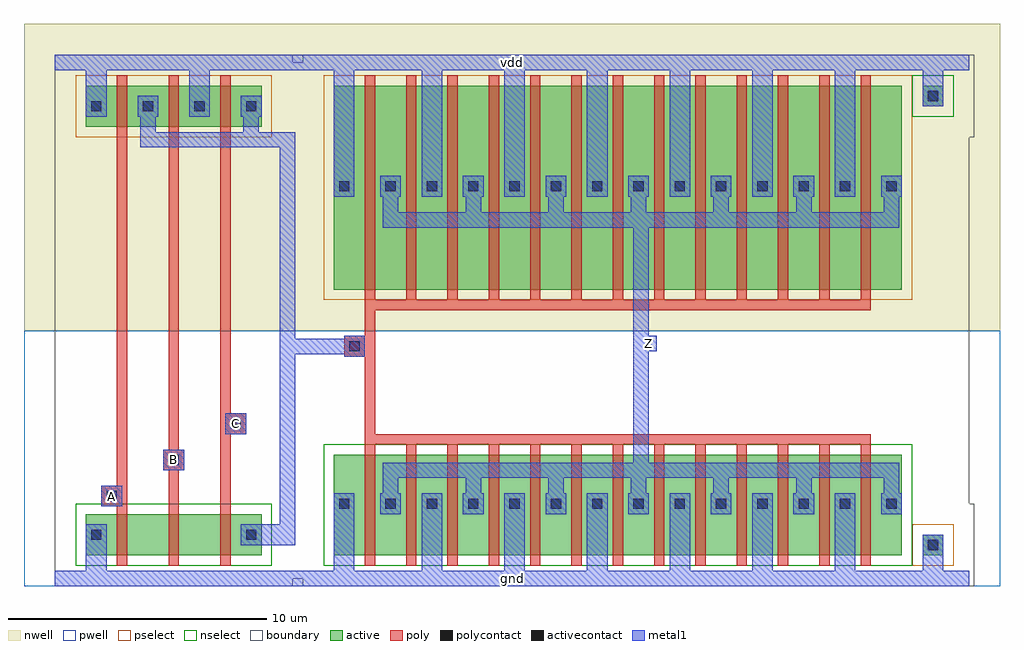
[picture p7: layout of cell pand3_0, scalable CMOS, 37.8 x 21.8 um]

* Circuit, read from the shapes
.subckt pand3_0 A B C Z gnd vdd
M1 pnand3_0_0/nmos_m1_w1_600_sm1_dactive_3/D A gnd gnd nfet w=1.6u l=0.4u
M2 pnand3_0_0/nmos_m1_w1_600_sactive_dactive_4/D B pnand3_0_0/nmos_m1_w1_600_sm1_dactive_3/D gnd nfet w=1.6u l=0.4u
M3 pdriver_3_1/A C pnand3_0_0/nmos_m1_w1_600_sactive_dactive_4/D gnd nfet w=1.6u l=0.4u
M4 Z pdriver_3_1/A gnd gnd nfet w=3.9u l=0.4u m=13
M5 pdriver_3_1/A A vdd vdd pfet w=1.6u l=0.4u
M6 vdd B pdriver_3_1/A vdd pfet w=1.6u l=0.4u
M7 pdriver_3_1/A C vdd vdd pfet w=1.6u l=0.4u
M8 Z pdriver_3_1/A vdd vdd pfet w=7.9u l=0.4u m=13
.ends

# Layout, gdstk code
import gdstk
lib = gdstk.Library(unit=1e-6, precision=1e-09)
def R(c, l, rs):  # rectangles x0, y0, x1, y1
    for r in rs: c.add(gdstk.rectangle(r[:2], r[2:], *l))
def A(c, l, x, y, w, h, nx, ny, dx, dy):  # array of equal rectangles
    R(c, l, [(x+i*dx, y+j*dy, x+i*dx+w, y+j*dy+h) for i in range(nx) for j in range(ny)])
pwell = (41, 0)
nwell = (42, 0)
active = (43, 0)
pselect = (44, 0)
nselect = (45, 0)
poly = (46, 0)
polycontact = (47, 0)
activecontact = (48, 0)
metal1 = (49, 0)
boundary = (63, 0)

contact_10 = lib.new_cell('contact_10')
R(contact_10, nwell, [(-1.2,-1.2,2,2)])
R(contact_10, active, [(0,0,0.8,0.8)])
R(contact_10, pselect, [(-0.4,-0.4,1.2,1.2)])
R(contact_10, activecontact, [(0.2,0.2,0.6,0.6)])
R(contact_10, metal1, [(0,0,0.8,0.8)])
R(contact_10, boundary, [(-1.2,-1.2,2,2)])

pmos_m1_w1_600_sm1_dm1 = lib.new_cell('pmos_m1_w1_600_sm1_dm1')
R(pmos_m1_w1_600_sm1_dm1, nwell, [(-1.2,-1.2,4,2.8)])
R(pmos_m1_w1_600_sm1_dm1, active, [(0,0,2.8,1.6)])
R(pmos_m1_w1_600_sm1_dm1, pselect, [(-0.4,-0.4,3.2,2)])
R(pmos_m1_w1_600_sm1_dm1, poly, [(1.2,-0.4,1.6,2), (1.2,-0.4,1.6,2)])
R(pmos_m1_w1_600_sm1_dm1, metal1, [(0,0.4,0.8,1.2), (2,0.4,2.8,1.2)])
R(pmos_m1_w1_600_sm1_dm1, boundary, [(-1.2,-1.2,4,2.8)])
pmos_m1_w1_600_sm1_dm1.add(gdstk.Reference(contact_10, (0,0.4)))
pmos_m1_w1_600_sm1_dm1.add(gdstk.Reference(contact_10, (2,0.4)))
pmos_m1_w1_600_sm1_dm1.add(gdstk.Label('G', (1.4,0.8), layer=46, texttype=0))
pmos_m1_w1_600_sm1_dm1.add(gdstk.Label('S', (0.4,0.8), layer=49, texttype=0))
pmos_m1_w1_600_sm1_dm1.add(gdstk.Label('D', (2.4,0.8), layer=49, texttype=0))

contact_9 = lib.new_cell('contact_9')
R(contact_9, pwell, [(-1.2,-1.2,2,2)])
R(contact_9, active, [(0,0,0.8,0.8)])
R(contact_9, nselect, [(-0.4,-0.4,1.2,1.2)])
R(contact_9, activecontact, [(0.2,0.2,0.6,0.6)])
R(contact_9, metal1, [(0,0,0.8,0.8)])
R(contact_9, boundary, [(-1.2,-1.2,2,2)])

nmos_m1_w1_600_sm1_dacti = lib.new_cell('nmos_m1_w1_600_sm1_dactive')
R(nmos_m1_w1_600_sm1_dacti, pwell, [(-1.2,-1.2,4,2.8)])
R(nmos_m1_w1_600_sm1_dacti, active, [(0,0,2.8,1.6), (2.1,0.5,2.7,1.1)])
R(nmos_m1_w1_600_sm1_dacti, nselect, [(-0.4,-0.4,3.2,2)])
R(nmos_m1_w1_600_sm1_dacti, poly, [(1.2,-0.4,1.6,2), (1.2,-0.4,1.6,2)])
R(nmos_m1_w1_600_sm1_dacti, metal1, [(0,0.4,0.8,1.2)])
R(nmos_m1_w1_600_sm1_dacti, boundary, [(-1.2,-1.2,4,2.8)])
nmos_m1_w1_600_sm1_dacti.add(gdstk.Reference(contact_9, (0,0.4)))
nmos_m1_w1_600_sm1_dacti.add(gdstk.Label('G', (1.4,0.8), layer=46, texttype=0))
nmos_m1_w1_600_sm1_dacti.add(gdstk.Label('S', (0.4,0.8), layer=49, texttype=0))
nmos_m1_w1_600_sm1_dacti.add(gdstk.Label('D', (2.4,0.8), layer=43, texttype=0))

nmos_m1_w1_600_sactive_d = lib.new_cell('nmos_m1_w1_600_sactive_dactive')
R(nmos_m1_w1_600_sactive_d, pwell, [(-1.2,-1.2,4,2.8)])
R(nmos_m1_w1_600_sactive_d, active, [(0,0,2.8,1.6), (0.1,0.5,0.7,1.1), (2.1,0.5,2.7,1.1)])
R(nmos_m1_w1_600_sactive_d, nselect, [(-0.4,-0.4,3.2,2)])
R(nmos_m1_w1_600_sactive_d, poly, [(1.2,-0.4,1.6,2), (1.2,-0.4,1.6,2)])
R(nmos_m1_w1_600_sactive_d, boundary, [(-1.2,-1.2,4,2.8)])
nmos_m1_w1_600_sactive_d.add(gdstk.Label('G', (1.4,0.8), layer=46, texttype=0))
nmos_m1_w1_600_sactive_d.add(gdstk.Label('S', (0.4,0.8), layer=43, texttype=0))
nmos_m1_w1_600_sactive_d.add(gdstk.Label('D', (2.4,0.8), layer=43, texttype=0))

c_nmos_m1_w1_600_sactive_d = lib.new_cell('nmos_m1_w1_600_sactive_dm1')
R(c_nmos_m1_w1_600_sactive_d, pwell, [(-1.2,-1.2,4,2.8)])
R(c_nmos_m1_w1_600_sactive_d, active, [(0,0,2.8,1.6), (0.1,0.5,0.7,1.1)])
R(c_nmos_m1_w1_600_sactive_d, nselect, [(-0.4,-0.4,3.2,2)])
R(c_nmos_m1_w1_600_sactive_d, poly, [(1.2,-0.4,1.6,2), (1.2,-0.4,1.6,2)])
R(c_nmos_m1_w1_600_sactive_d, metal1, [(2,0.4,2.8,1.2)])
R(c_nmos_m1_w1_600_sactive_d, boundary, [(-1.2,-1.2,4,2.8)])
c_nmos_m1_w1_600_sactive_d.add(gdstk.Reference(contact_9, (2,0.4)))
c_nmos_m1_w1_600_sactive_d.add(gdstk.Label('G', (1.4,0.8), layer=46, texttype=0))
c_nmos_m1_w1_600_sactive_d.add(gdstk.Label('S', (0.4,0.8), layer=43, texttype=0))
c_nmos_m1_w1_600_sactive_d.add(gdstk.Label('D', (2.4,0.8), layer=49, texttype=0))

contact_13 = lib.new_cell('contact_13')
R(contact_13, poly, [(0,0,0.8,0.8)])
R(contact_13, polycontact, [(0.2,0.2,0.6,0.6)])
R(contact_13, metal1, [(0,0,0.8,0.8)])
R(contact_13, boundary, [(0,0,0.8,0.8)])

pnand3_0 = lib.new_cell('pnand3_0')
R(pnand3_0, pwell, [(-1.2,-0.3,10.8,9.6)])
R(pnand3_0, nwell, [(-1.2,9.6,10.8,21.5)])
A(pnand3_0, poly, 2.4, 2.9, 0.4, 14.2, 3, 1, 2, 0)
R(pnand3_0, poly, [(2.2,2.8,2.4,3.6), (4.4,4.2,4.6,5), (6.4,5.6,7,6.4)])
R(pnand3_0, metal1, [(0,-0.3,9.6,0.3), (1.2,-0.3,2,1.3), (7.6,1.3,9,2.1), (8.7,1.3,9.3,17), (1.8,2.8,2.6,3.6), (4.2,4.2,5,5), (6.6,5.6,7.4,6.4), (3.3,16.7,3.9,17.3), (3.6,16.7,9,17.3), (7.3,16.7,7.9,17.3), (7.6,16.7,9,17.3), (8.7,16.7,9.3,17.3), (3.3,17,3.9,18.3), (7.3,17,7.9,18.3), (1.2,17.9,2,20.3), (5.2,17.9,6,20.3), (0,19.7,9.6,20.3)])
R(pnand3_0, boundary, [(0,0,9.6,20), (0,0,9.6,20)])
pnand3_0.add(gdstk.Reference(pmos_m1_w1_600_sm1_dm1, (1.2,17.5)))
pnand3_0.add(gdstk.Reference(pmos_m1_w1_600_sm1_dm1, (3.2,17.5)))
pnand3_0.add(gdstk.Reference(pmos_m1_w1_600_sm1_dm1, (5.2,17.5)))
pnand3_0.add(gdstk.Reference(nmos_m1_w1_600_sm1_dacti, (1.2,0.9)))
pnand3_0.add(gdstk.Reference(nmos_m1_w1_600_sactive_d, (3.2,0.9)))
pnand3_0.add(gdstk.Reference(c_nmos_m1_w1_600_sactive_d, (5.2,0.9)))
pnand3_0.add(gdstk.Reference(contact_13, (1.8,2.8)))
pnand3_0.add(gdstk.Reference(contact_13, (4.2,4.2)))
pnand3_0.add(gdstk.Reference(contact_13, (6.6,5.6)))
pnand3_0.add(gdstk.Label('A', (2.2,3.2), layer=49, texttype=0))
pnand3_0.add(gdstk.Label('B', (4.6,4.6), layer=49, texttype=0))
pnand3_0.add(gdstk.Label('C', (7,6), layer=49, texttype=0))
pnand3_0.add(gdstk.Label('Z', (9,17), layer=49, texttype=0))
pnand3_0.add(gdstk.Label('gnd', (4.8,0), layer=49, texttype=0))
pnand3_0.add(gdstk.Label('vdd', (4.8,20), layer=49, texttype=0))

pmos_m13_w7_900_sm1_dm1_ = lib.new_cell('pmos_m13_w7_900_sm1_dm1_da_p')
R(pmos_m13_w7_900_sm1_dm1_, nwell, [(-1.2,-1.2,23.2,9.1)])
R(pmos_m13_w7_900_sm1_dm1_, active, [(0,0,22,7.9)])
R(pmos_m13_w7_900_sm1_dm1_, pselect, [(-0.4,-0.4,22.4,8.3)])
A(pmos_m13_w7_900_sm1_dm1_, poly, 1.2, -0.4, 0.4, 8.7, 13, 1, 1.6, 0)
R(pmos_m13_w7_900_sm1_dm1_, poly, [(1.2,-0.8,20.8,-0.4)])
A(pmos_m13_w7_900_sm1_dm1_, metal1, 1.9, 2.6, 0.6, 1.4, 6, 1, 3.2, 0)
A(pmos_m13_w7_900_sm1_dm1_, metal1, 3.4, 3.6, 0.8, 0.8, 6, 1, 3.2, 0)
R(pmos_m13_w7_900_sm1_dm1_, metal1, [(1.9,2.4,21.9,3), (21.3,2.6,21.9,4), (0,3.6,0.8,4.4)])
R(pmos_m13_w7_900_sm1_dm1_, boundary, [(-1.2,-1.2,23.2,9.1)])
pmos_m13_w7_900_sm1_dm1_.add(gdstk.Reference(contact_10, (0,3.6)))
pmos_m13_w7_900_sm1_dm1_.add(gdstk.Reference(contact_10, (1.8,3.6)))
pmos_m13_w7_900_sm1_dm1_.add(gdstk.Reference(contact_10, (3.4,3.6)))
pmos_m13_w7_900_sm1_dm1_.add(gdstk.Reference(contact_10, (5,3.6)))
pmos_m13_w7_900_sm1_dm1_.add(gdstk.Reference(contact_10, (6.6,3.6)))
pmos_m13_w7_900_sm1_dm1_.add(gdstk.Reference(contact_10, (8.2,3.6)))
pmos_m13_w7_900_sm1_dm1_.add(gdstk.Reference(contact_10, (9.8,3.6)))
pmos_m13_w7_900_sm1_dm1_.add(gdstk.Reference(contact_10, (11.4,3.6)))
pmos_m13_w7_900_sm1_dm1_.add(gdstk.Reference(contact_10, (13,3.6)))
pmos_m13_w7_900_sm1_dm1_.add(gdstk.Reference(contact_10, (14.6,3.6)))
pmos_m13_w7_900_sm1_dm1_.add(gdstk.Reference(contact_10, (16.2,3.6)))
pmos_m13_w7_900_sm1_dm1_.add(gdstk.Reference(contact_10, (17.8,3.6)))
pmos_m13_w7_900_sm1_dm1_.add(gdstk.Reference(contact_10, (19.4,3.6)))
pmos_m13_w7_900_sm1_dm1_.add(gdstk.Reference(contact_10, (21.2,3.6)))
pmos_m13_w7_900_sm1_dm1_.add(gdstk.Label('G', (11,-0.6), layer=46, texttype=0))
pmos_m13_w7_900_sm1_dm1_.add(gdstk.Label('S', (19.8,4), layer=49, texttype=0))
pmos_m13_w7_900_sm1_dm1_.add(gdstk.Label('S', (10.2,4), layer=49, texttype=0))
pmos_m13_w7_900_sm1_dm1_.add(gdstk.Label('S', (16.6,4), layer=49, texttype=0))
pmos_m13_w7_900_sm1_dm1_.add(gdstk.Label('S', (13.4,4), layer=49, texttype=0))
pmos_m13_w7_900_sm1_dm1_.add(gdstk.Label('S', (7,4), layer=49, texttype=0))
pmos_m13_w7_900_sm1_dm1_.add(gdstk.Label('S', (3.8,4), layer=49, texttype=0))
pmos_m13_w7_900_sm1_dm1_.add(gdstk.Label('S', (0.4,4), layer=49, texttype=0))
pmos_m13_w7_900_sm1_dm1_.add(gdstk.Label('D', (11.9,2.7), layer=49, texttype=0))

nmos_m13_w3_900_sm1_dm1_ = lib.new_cell('nmos_m13_w3_900_sm1_dm1_da_p')
R(nmos_m13_w3_900_sm1_dm1_, pwell, [(-1.2,-1.2,23.2,5.1)])
R(nmos_m13_w3_900_sm1_dm1_, active, [(0,0,22,3.9)])
R(nmos_m13_w3_900_sm1_dm1_, nselect, [(-0.4,-0.4,22.4,4.3)])
A(nmos_m13_w3_900_sm1_dm1_, poly, 1.2, -0.4, 0.4, 4.7, 13, 1, 1.6, 0)
R(nmos_m13_w3_900_sm1_dm1_, poly, [(1.2,4.3,20.8,4.7)])
A(nmos_m13_w3_900_sm1_dm1_, metal1, 3.4, 1.6, 0.8, 0.8, 6, 1, 3.2, 0)
A(nmos_m13_w3_900_sm1_dm1_, metal1, 1.9, 2, 0.6, 1.2, 6, 1, 3.2, 0)
R(nmos_m13_w3_900_sm1_dm1_, metal1, [(0,1.6,0.8,2.4), (21.3,2,21.9,3.2), (1.9,3,21.9,3.6)])
R(nmos_m13_w3_900_sm1_dm1_, boundary, [(-1.2,-1.2,23.2,5.1)])
nmos_m13_w3_900_sm1_dm1_.add(gdstk.Reference(contact_9, (0,1.6)))
nmos_m13_w3_900_sm1_dm1_.add(gdstk.Reference(contact_9, (1.8,1.6)))
nmos_m13_w3_900_sm1_dm1_.add(gdstk.Reference(contact_9, (3.4,1.6)))
nmos_m13_w3_900_sm1_dm1_.add(gdstk.Reference(contact_9, (5,1.6)))
nmos_m13_w3_900_sm1_dm1_.add(gdstk.Reference(contact_9, (6.6,1.6)))
nmos_m13_w3_900_sm1_dm1_.add(gdstk.Reference(contact_9, (8.2,1.6)))
nmos_m13_w3_900_sm1_dm1_.add(gdstk.Reference(contact_9, (9.8,1.6)))
nmos_m13_w3_900_sm1_dm1_.add(gdstk.Reference(contact_9, (11.4,1.6)))
nmos_m13_w3_900_sm1_dm1_.add(gdstk.Reference(contact_9, (13,1.6)))
nmos_m13_w3_900_sm1_dm1_.add(gdstk.Reference(contact_9, (14.6,1.6)))
nmos_m13_w3_900_sm1_dm1_.add(gdstk.Reference(contact_9, (16.2,1.6)))
nmos_m13_w3_900_sm1_dm1_.add(gdstk.Reference(contact_9, (17.8,1.6)))
nmos_m13_w3_900_sm1_dm1_.add(gdstk.Reference(contact_9, (19.4,1.6)))
nmos_m13_w3_900_sm1_dm1_.add(gdstk.Reference(contact_9, (21.2,1.6)))
nmos_m13_w3_900_sm1_dm1_.add(gdstk.Label('G', (11,4.5), layer=46, texttype=0))
nmos_m13_w3_900_sm1_dm1_.add(gdstk.Label('S', (3.8,2), layer=49, texttype=0))
nmos_m13_w3_900_sm1_dm1_.add(gdstk.Label('S', (7,2), layer=49, texttype=0))
nmos_m13_w3_900_sm1_dm1_.add(gdstk.Label('S', (19.8,2), layer=49, texttype=0))
nmos_m13_w3_900_sm1_dm1_.add(gdstk.Label('S', (10.2,2), layer=49, texttype=0))
nmos_m13_w3_900_sm1_dm1_.add(gdstk.Label('S', (0.4,2), layer=49, texttype=0))
nmos_m13_w3_900_sm1_dm1_.add(gdstk.Label('S', (13.4,2), layer=49, texttype=0))
nmos_m13_w3_900_sm1_dm1_.add(gdstk.Label('S', (16.6,2), layer=49, texttype=0))
nmos_m13_w3_900_sm1_dm1_.add(gdstk.Label('D', (11.9,3.3), layer=49, texttype=0))

contact_11 = lib.new_cell('contact_11')
R(contact_11, nwell, [(-1.2,-1.2,2,2)])
R(contact_11, active, [(0,0,0.8,0.8)])
R(contact_11, nselect, [(-0.4,-0.4,1.2,1.2)])
R(contact_11, activecontact, [(0.2,0.2,0.6,0.6)])
R(contact_11, metal1, [(0,0,0.8,0.8)])
R(contact_11, boundary, [(-1.2,-1.2,2,2)])

contact_12 = lib.new_cell('contact_12')
R(contact_12, pwell, [(-1.2,-1.2,2,2)])
R(contact_12, active, [(0,0,0.8,0.8)])
R(contact_12, pselect, [(-0.4,-0.4,1.2,1.2)])
R(contact_12, activecontact, [(0.2,0.2,0.6,0.6)])
R(contact_12, metal1, [(0,0,0.8,0.8)])
R(contact_12, boundary, [(-1.2,-1.2,2,2)])

pinv_18 = lib.new_cell('pinv_18')
R(pinv_18, pwell, [(-1.2,-0.3,27,9.6)])
R(pinv_18, nwell, [(-1.2,9.6,27,21.5)])
R(pinv_18, poly, [(2.4,5.6,2.8,10.4), (2,8.6,2.4,9.4)])
A(pinv_18, metal1, 4.6, -0.3, 0.8, 2.8, 6, 1, 3.2, 0)
A(pinv_18, metal1, 4.6, 14.8, 0.8, 5.5, 6, 1, 3.2, 0)
R(pinv_18, metal1, [(0,-0.3,25.8,0.3), (1.2,-0.3,2,2.5), (24,0,24.8,1.3), (12.8,3.9,13.4,14.2), (1.6,8.6,2.4,9.4), (13.1,8.8,13.7,9.4), (1.2,14.8,2,20.3), (24,18.7,24.8,20), (0,19.7,25.8,20.3)])
R(pinv_18, boundary, [(0,0,25.8,20), (0,0,25.8,20)])
pinv_18.add(gdstk.Reference(pmos_m13_w7_900_sm1_dm1_, (1.2,11.2)))
pinv_18.add(gdstk.Reference(nmos_m13_w3_900_sm1_dm1_, (1.2,0.9)))
pinv_18.add(gdstk.Reference(contact_11, (24,18.3)))
pinv_18.add(gdstk.Reference(contact_12, (24,0.9)))
pinv_18.add(gdstk.Reference(contact_13, (1.6,8.6)))
pinv_18.add(gdstk.Label('A', (2,9), layer=49, texttype=0))
pinv_18.add(gdstk.Label('Z', (13.4,9.1), layer=49, texttype=0))
pinv_18.add(gdstk.Label('gnd', (12.9,0), layer=49, texttype=0))
pinv_18.add(gdstk.Label('vdd', (12.9,20), layer=49, texttype=0))

pdriver_3 = lib.new_cell('pdriver_3')
R(pdriver_3, pwell, [(-1.2,-0.3,27,9.6)])
R(pdriver_3, nwell, [(-1.2,9.6,27,21.5)])
R(pdriver_3, metal1, [(0,-0.3,25.8,0.3), (1.6,8.6,2.4,9.4), (13.1,8.8,13.7,9.4), (0,19.7,25.8,20.3)])
R(pdriver_3, boundary, [(0,0,25.8,20), (0,0,25.8,20)])
pdriver_3.add(gdstk.Reference(pinv_18, (0,0)))
pdriver_3.add(gdstk.Label('Z', (13.4,9.1), layer=49, texttype=0))
pdriver_3.add(gdstk.Label('A', (2,9), layer=49, texttype=0))
pdriver_3.add(gdstk.Label('gnd', (12.9,0), layer=49, texttype=0))
pdriver_3.add(gdstk.Label('vdd', (12.9,20), layer=49, texttype=0))

pand3_0 = lib.new_cell('pand3_0')
R(pand3_0, metal1, [(0,-0.3,35.4,0.3), (1.8,2.8,2.6,3.6), (4.2,4.2,5,5), (6.6,5.6,7.4,6.4), (8.7,8.7,9.3,9.3), (9,8.7,11.6,9.3), (22.7,8.8,23.3,9.4), (8.7,9,9.3,17), (0,19.7,35.4,20.3)])
R(pand3_0, boundary, [(0,0,35.4,20), (0,0,35.4,20)])
pand3_0.add(gdstk.Reference(pnand3_0, (0,0)))
pand3_0.add(gdstk.Reference(pdriver_3, (9.6,0)))
pand3_0.add(gdstk.Label('Z', (23,9.1), layer=49, texttype=0))
pand3_0.add(gdstk.Label('A', (2.2,3.2), layer=49, texttype=0))
pand3_0.add(gdstk.Label('B', (4.6,4.6), layer=49, texttype=0))
pand3_0.add(gdstk.Label('C', (7,6), layer=49, texttype=0))
pand3_0.add(gdstk.Label('gnd', (17.7,0), layer=49, texttype=0))
pand3_0.add(gdstk.Label('vdd', (17.7,20), layer=49, texttype=0))

lib.write_gds('pand3_0.gds')
